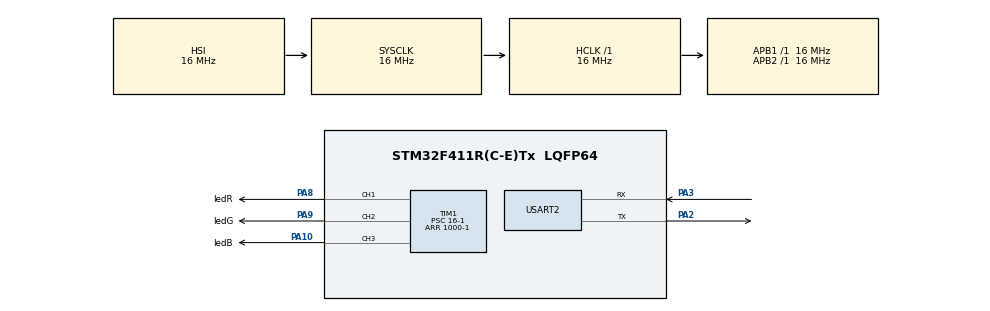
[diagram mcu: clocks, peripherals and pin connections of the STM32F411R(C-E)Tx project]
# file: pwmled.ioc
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Mcu.Family=STM32F4
Mcu.Name=STM32F411R(C-E)Tx
Mcu.Package=LQFP64
NVIC.PriorityGroup=NVIC_PRIORITYGROUP_4
NVIC.USART2_IRQn=true\:0\:0\:false\:false\:true\:true\:true\:true
PA10.GPIO_Label=ledB
PA10.Signal=S_TIM1_CH3
PA2.Mode=Asynchronous
PA2.Signal=USART2_TX
PA3.Mode=Asynchronous
PA3.Signal=USART2_RX
PA8.GPIO_Label=ledR
PA8.Signal=S_TIM1_CH1
PA9.GPIO_Label=ledG
PA9.Signal=S_TIM1_CH2
ProjectManager.HeapSize=0x200
ProjectManager.StackSize=0x400
ProjectManager.TargetToolchain=STM32CubeIDE
RCC.AHBFreq_Value=16000000
RCC.APB1Freq_Value=16000000
RCC.APB2Freq_Value=16000000
RCC.CortexFreq_Value=16000000
RCC.HSE_VALUE=25000000
RCC.HSI_VALUE=16000000
RCC.LSE_VALUE=32768
RCC.SYSCLKFreq_VALUE=16000000
RCC.VCOOutputFreq_Value=192000000
SH.S_TIM1_CH1.0=TIM1_CH1,PWM Generation1 CH1
SH.S_TIM1_CH2.0=TIM1_CH2,PWM Generation2 CH2
SH.S_TIM1_CH3.0=TIM1_CH3,PWM Generation3 CH3
TIM1.Channel-PWM\ Generation1\ CH1=TIM_CHANNEL_1
TIM1.Channel-PWM\ Generation2\ CH2=TIM_CHANNEL_2
TIM1.Channel-PWM\ Generation3\ CH3=TIM_CHANNEL_3
TIM1.Period=1000-1
TIM1.Prescaler=16-1
TIM1.Pulse-PWM\ Generation1\ CH1=1
TIM1.Pulse-PWM\ Generation2\ CH2=1
TIM1.Pulse-PWM\ Generation3\ CH3=1
USART2.VirtualMode=VM_ASYNC
VP_TIM1_VS_ClockSourceINT.Mode=Internal
board=custom

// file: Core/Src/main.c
/* USER CODE BEGIN Header */
/**
  ******************************************************************************
  * @file           : main.c
  * @brief          : Main program body
  ******************************************************************************
  * @attention
  *
  * Copyright (c) 2024 STMicroelectronics.
  * All rights reserved.
  *
  * This software is licensed under terms that can be found in the LICENSE file
  * in the root directory of this software component.
  * If no LICENSE file comes with this software, it is provided AS-IS.
  *
  ******************************************************************************
  */
/* USER CODE END Header */
#include "main.h"

/* USER CODE BEGIN Includes */
#include "uart.h"
#include "hsv2rgb.h"
/* USER CODE END Includes */

TIM_HandleTypeDef htim1;

UART_HandleTypeDef huart2;

void SystemClock_Config(void);
static void MX_GPIO_Init(void);
static void MX_USART2_UART_Init(void);
static void MX_TIM1_Init(void);

/* USER CODE BEGIN 0 */
struct hsv_colour hsv;
struct rgb_colour rgb;
/* USER CODE END 0 */

int main(void)
{

  /* MCU Configuration--------------------------------------------------------*/

  /* Reset of all peripherals, Initializes the Flash interface and the Systick. */
  HAL_Init();

  /* Configure the system clock */
  SystemClock_Config();

  /* Initialize all configured peripherals */
  MX_GPIO_Init();
  MX_USART2_UART_Init();
  MX_TIM1_Init();
  /* USER CODE BEGIN 2 */
  //HAL_TIM_Base_Start(&htim2);
  HAL_TIM_PWM_Start(&htim1, TIM_CHANNEL_1);
  HAL_TIM_PWM_Start(&htim1, TIM_CHANNEL_2);
  HAL_TIM_PWM_Start(&htim1, TIM_CHANNEL_3);
  hsv.h = 0;
  /* USER CODE END 2 */

  /* Infinite loop */
  /* USER CODE BEGIN WHILE */
  while (1)
  {
  	hsv.s = 1;
  	hsv.v = 1;
  	hsv2rgb(&hsv, &rgb);
  	htim1.Instance->CCR1 = rgb.r * 999;
  	htim1.Instance->CCR2 = rgb.g * 999;
  	htim1.Instance->CCR3 = rgb.b * 999;
  	hsv.h += 0.01;
  	if(hsv.h >= 1.0) hsv.h = 0;
  	HAL_Delay(50);
    /* USER CODE END WHILE */

  }
}

void SystemClock_Config(void)
{
  RCC_OscInitTypeDef RCC_OscInitStruct = {0};
  RCC_ClkInitTypeDef RCC_ClkInitStruct = {0};

  /** Configure the main internal regulator output voltage
  */
  __HAL_RCC_PWR_CLK_ENABLE();
  __HAL_PWR_VOLTAGESCALING_CONFIG(PWR_REGULATOR_VOLTAGE_SCALE1);

  /** Initializes the RCC Oscillators according to the specified parameters
  * in the RCC_OscInitTypeDef structure.
  */
  RCC_OscInitStruct.OscillatorType = RCC_OSCILLATORTYPE_HSI;
  RCC_OscInitStruct.HSIState = RCC_HSI_ON;
  RCC_OscInitStruct.HSICalibrationValue = RCC_HSICALIBRATION_DEFAULT;
  RCC_OscInitStruct.PLL.PLLState = RCC_PLL_NONE;
  if (HAL_RCC_OscConfig(&RCC_OscInitStruct) != HAL_OK)
  {
    Error_Handler();
  }

  /** Initializes the CPU, AHB and APB buses clocks
  */
  RCC_ClkInitStruct.ClockType = RCC_CLOCKTYPE_HCLK|RCC_CLOCKTYPE_SYSCLK
                              |RCC_CLOCKTYPE_PCLK1|RCC_CLOCKTYPE_PCLK2;
  RCC_ClkInitStruct.SYSCLKSource = RCC_SYSCLKSOURCE_HSI;
  RCC_ClkInitStruct.AHBCLKDivider = RCC_SYSCLK_DIV1;
  RCC_ClkInitStruct.APB1CLKDivider = RCC_HCLK_DIV1;
  RCC_ClkInitStruct.APB2CLKDivider = RCC_HCLK_DIV1;

  if (HAL_RCC_ClockConfig(&RCC_ClkInitStruct, FLASH_LATENCY_0) != HAL_OK)
  {
    Error_Handler();
  }
}

static void MX_TIM1_Init(void)
{

  TIM_ClockConfigTypeDef sClockSourceConfig = {0};
  TIM_MasterConfigTypeDef sMasterConfig = {0};
  TIM_OC_InitTypeDef sConfigOC = {0};
  TIM_BreakDeadTimeConfigTypeDef sBreakDeadTimeConfig = {0};

  htim1.Instance = TIM1;
  htim1.Init.Prescaler = 16-1;
  htim1.Init.CounterMode = TIM_COUNTERMODE_UP;
  htim1.Init.Period = 1000-1;
  htim1.Init.ClockDivision = TIM_CLOCKDIVISION_DIV1;
  htim1.Init.RepetitionCounter = 0;
  htim1.Init.AutoReloadPreload = TIM_AUTORELOAD_PRELOAD_DISABLE;
  if (HAL_TIM_Base_Init(&htim1) != HAL_OK)
  {
    Error_Handler();
  }
  sClockSourceConfig.ClockSource = TIM_CLOCKSOURCE_INTERNAL;
  if (HAL_TIM_ConfigClockSource(&htim1, &sClockSourceConfig) != HAL_OK)
  {
    Error_Handler();
  }
  if (HAL_TIM_PWM_Init(&htim1) != HAL_OK)
  {
    Error_Handler();
  }
  sMasterConfig.MasterOutputTrigger = TIM_TRGO_RESET;
  sMasterConfig.MasterSlaveMode = TIM_MASTERSLAVEMODE_DISABLE;
  if (HAL_TIMEx_MasterConfigSynchronization(&htim1, &sMasterConfig) != HAL_OK)
  {
    Error_Handler();
  }
  sConfigOC.OCMode = TIM_OCMODE_PWM1;
  sConfigOC.Pulse = 1;
  sConfigOC.OCPolarity = TIM_OCPOLARITY_HIGH;
  sConfigOC.OCNPolarity = TIM_OCNPOLARITY_HIGH;
  sConfigOC.OCFastMode = TIM_OCFAST_DISABLE;
  sConfigOC.OCIdleState = TIM_OCIDLESTATE_RESET;
  sConfigOC.OCNIdleState = TIM_OCNIDLESTATE_RESET;
  if (HAL_TIM_PWM_ConfigChannel(&htim1, &sConfigOC, TIM_CHANNEL_1) != HAL_OK)
  {
    Error_Handler();
  }
  if (HAL_TIM_PWM_ConfigChannel(&htim1, &sConfigOC, TIM_CHANNEL_2) != HAL_OK)
  {
    Error_Handler();
  }
  if (HAL_TIM_PWM_ConfigChannel(&htim1, &sConfigOC, TIM_CHANNEL_3) != HAL_OK)
  {
    Error_Handler();
  }
  sBreakDeadTimeConfig.OffStateRunMode = TIM_OSSR_DISABLE;
  sBreakDeadTimeConfig.OffStateIDLEMode = TIM_OSSI_DISABLE;
  sBreakDeadTimeConfig.LockLevel = TIM_LOCKLEVEL_OFF;
  sBreakDeadTimeConfig.DeadTime = 0;
  sBreakDeadTimeConfig.BreakState = TIM_BREAK_DISABLE;
  sBreakDeadTimeConfig.BreakPolarity = TIM_BREAKPOLARITY_HIGH;
  sBreakDeadTimeConfig.AutomaticOutput = TIM_AUTOMATICOUTPUT_DISABLE;
  if (HAL_TIMEx_ConfigBreakDeadTime(&htim1, &sBreakDeadTimeConfig) != HAL_OK)
  {
    Error_Handler();
  }
  HAL_TIM_MspPostInit(&htim1);

}

static void MX_USART2_UART_Init(void)
{

  huart2.Instance = USART2;
  huart2.Init.BaudRate = 115200;
  huart2.Init.WordLength = UART_WORDLENGTH_8B;
  huart2.Init.StopBits = UART_STOPBITS_1;
  huart2.Init.Parity = UART_PARITY_NONE;
  huart2.Init.Mode = UART_MODE_TX_RX;
  huart2.Init.HwFlowCtl = UART_HWCONTROL_NONE;
  huart2.Init.OverSampling = UART_OVERSAMPLING_16;
  if (HAL_UART_Init(&huart2) != HAL_OK)
  {
    Error_Handler();
  }

}

static void MX_GPIO_Init(void)
{

  /* GPIO Ports Clock Enable */
  __HAL_RCC_GPIOA_CLK_ENABLE();

}

void Error_Handler(void)
{
  __disable_irq();
  while (1)
  {
  }
}
